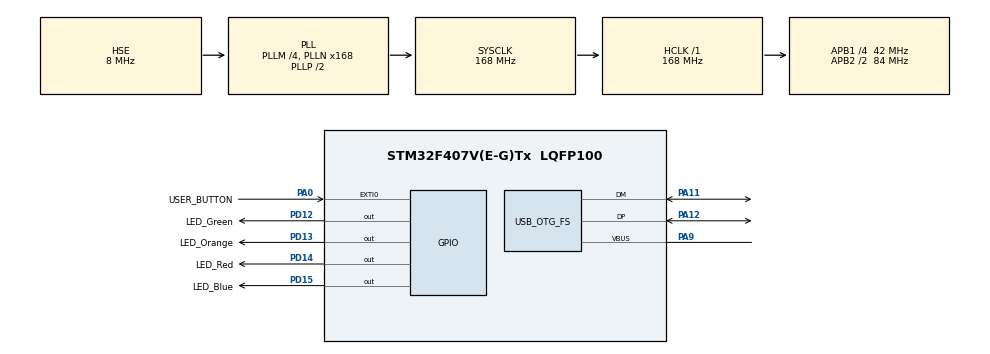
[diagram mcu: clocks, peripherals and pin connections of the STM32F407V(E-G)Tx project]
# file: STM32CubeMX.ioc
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Mcu.Family=STM32F4
Mcu.Name=STM32F407V(E-G)Tx
Mcu.Package=LQFP100
NVIC.EXTI0_IRQn=true\:9\:0\:true\:false\:true\:true\:true\:true
NVIC.OTG_FS_IRQn=true\:15\:0\:true\:false\:true\:true\:true\:true
NVIC.PriorityGroup=NVIC_PRIORITYGROUP_4
NVIC.TIM1_UP_TIM10_IRQn=true\:0\:0\:true\:false\:true\:false\:true\:true
NVIC.TimeBase=TIM1_UP_TIM10_IRQn
NVIC.TimeBaseIP=TIM1
PA0-WKUP.GPIO_Label=USER_BUTTON
PA0-WKUP.Signal=GPXTI0
PA11.Mode=Device_Only
PA11.Signal=USB_OTG_FS_DM
PA12.Mode=Device_Only
PA12.Signal=USB_OTG_FS_DP
PA13.Mode=Serial_Wire
PA13.Signal=SYS_JTMS-SWDIO
PA14.Mode=Serial_Wire
PA14.Signal=SYS_JTCK-SWCLK
PA9.Mode=Activate_VBUS
PA9.Signal=USB_OTG_FS_VBUS
PD12.GPIO_Label=LED_Green
PD12.Signal=GPIO_Output
PD13.GPIO_Label=LED_Orange
PD13.Signal=GPIO_Output
PD14.GPIO_Label=LED_Red
PD14.Signal=GPIO_Output
PD15.GPIO_Label=LED_Blue
PD15.Signal=GPIO_Output
PH0-OSC_IN.Mode=HSE-External-Oscillator
PH0-OSC_IN.Signal=RCC_OSC_IN
PH1-OSC_OUT.Mode=HSE-External-Oscillator
PH1-OSC_OUT.Signal=RCC_OSC_OUT
ProjectManager.HeapSize=0x200
ProjectManager.StackSize=0x400
ProjectManager.TargetToolchain=MDK-ARM V5
RCC.48MHZClocksFreq_Value=48000000
RCC.AHBFreq_Value=168000000
RCC.APB1CLKDivider=RCC_HCLK_DIV4
RCC.APB1Freq_Value=42000000
RCC.APB1TimFreq_Value=84000000
RCC.APB2CLKDivider=RCC_HCLK_DIV2
RCC.APB2Freq_Value=84000000
RCC.APB2TimFreq_Value=168000000
RCC.CortexFreq_Value=168000000
RCC.HCLKFreq_Value=168000000
RCC.HSE_VALUE=8000000
RCC.HSI_VALUE=16000000
RCC.LSE_VALUE=32768
RCC.PLLM=4
RCC.PLLN=168
RCC.PLLQ=7
RCC.SYSCLKFreq_VALUE=168000000
RCC.SYSCLKSource=RCC_SYSCLKSOURCE_PLLCLK
RCC.VCOOutputFreq_Value=336000000
USB_DEVICE.CLASS_NAME_FS=CDC
USB_DEVICE.VirtualMode-CDC_FS=Cdc
USB_DEVICE.VirtualModeFS=Cdc_FS
USB_OTG_FS.VirtualMode=Device_Only
VP_SYS_VS_tim1.Mode=TIM1
VP_USB_DEVICE_VS_USB_DEVICE_CDC_FS.Mode=CDC_FS
board=custom

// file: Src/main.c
/* USER CODE BEGIN Header */
/**
 ******************************************************************************
 * @file           : main.c
 * @brief          : Main program body
 ******************************************************************************
 * @attention
 *
 * Copyright (c) 2025 STMicroelectronics.
 * All rights reserved.
 *
 * This software is licensed under terms that can be found in the LICENSE file
 * in the root directory of this software component.
 * If no LICENSE file comes with this software, it is provided AS-IS.
 *
 ******************************************************************************
 */
/* USER CODE END Header */
#include "main.h"
#include "usb_device.h"

/* USER CODE BEGIN Includes */
#include "app.h"
#include "cmsis_os2.h"
#ifdef DEBUG
#include "eventrecorder.h"
#endif
/* USER CODE END Includes */

/* USER CODE BEGIN PV */
// char fs_buf[100]; // File system working buffer
// int32_t status;   // File system status variable
// int32_t n = 0;    // Number of bytes written/read
/* USER CODE END PV */

/* Private function prototypes
   -----------------------------------------------*/
void SystemClock_Config(void);
static void MX_GPIO_Init(void);

int main(void) {

/* USER CODE BEGIN 1 */
#ifdef DEBUG
  EventRecorderInitialize(EventRecordNone, 1); // Initialize Event Recorder
#endif
  /* USER CODE END 1 */

  /* MCU Configuration--------------------------------------------------------*/

  /* Reset of all peripherals, Initializes the Flash interface and the Systick.
   */
  HAL_Init();

  /* Configure the system clock */
  SystemClock_Config();

  /* Initialize all configured peripherals */
  MX_GPIO_Init();       // Initialize GPIO
  MX_USB_DEVICE_Init(); // Initialize USB device
  /* USER CODE BEGIN 2 */
  osKernelInitialize(); // Initialize CMSIS-RTOS2 kernel

  osThreadId_t tid_app = NULL; // Declare thread ID for the application main

  // Create thread attributes for the main application thread
  const osThreadAttr_t app_main_config = {
      .name = "app_main",
      .priority = osPriorityNormal,
  };
  // Create the main application thread
  tid_app = osThreadNew(app_main, NULL, &app_main_config);
  // Check if the application thread was created successfully

  if (tid_app == NULL) {
#ifdef DEBUG
    printf("Failed to create app_main thread\r\n");
#endif
  }

  osKernelStart(); // Start the CMSIS-RTOS2 kernel
  /* USER CODE END 2 */

  /* Infinite loop */
  while (1) {

    for (;;) {
    }
  }
}

void SystemClock_Config(void) {
  RCC_OscInitTypeDef RCC_OscInitStruct = {0};
  RCC_ClkInitTypeDef RCC_ClkInitStruct = {0};

  /** Configure the main internal regulator output voltage
   */
  __HAL_RCC_PWR_CLK_ENABLE();
  __HAL_PWR_VOLTAGESCALING_CONFIG(PWR_REGULATOR_VOLTAGE_SCALE1);

  /** Initializes the RCC Oscillators according to the specified parameters
   * in the RCC_OscInitTypeDef structure.
   */
  RCC_OscInitStruct.OscillatorType = RCC_OSCILLATORTYPE_HSE;
  RCC_OscInitStruct.HSEState = RCC_HSE_ON;
  RCC_OscInitStruct.PLL.PLLState = RCC_PLL_ON;
  RCC_OscInitStruct.PLL.PLLSource = RCC_PLLSOURCE_HSE;
  RCC_OscInitStruct.PLL.PLLM = 4;
  RCC_OscInitStruct.PLL.PLLN = 168;
  RCC_OscInitStruct.PLL.PLLP = RCC_PLLP_DIV2;
  RCC_OscInitStruct.PLL.PLLQ = 7;
  if (HAL_RCC_OscConfig(&RCC_OscInitStruct) != HAL_OK) {
    Error_Handler();
  }

  /** Initializes the CPU, AHB and APB buses clocks
   */
  RCC_ClkInitStruct.ClockType = RCC_CLOCKTYPE_HCLK | RCC_CLOCKTYPE_SYSCLK |
                                RCC_CLOCKTYPE_PCLK1 | RCC_CLOCKTYPE_PCLK2;
  RCC_ClkInitStruct.SYSCLKSource = RCC_SYSCLKSOURCE_PLLCLK;
  RCC_ClkInitStruct.AHBCLKDivider = RCC_SYSCLK_DIV1;
  RCC_ClkInitStruct.APB1CLKDivider = RCC_HCLK_DIV4;
  RCC_ClkInitStruct.APB2CLKDivider = RCC_HCLK_DIV2;

  if (HAL_RCC_ClockConfig(&RCC_ClkInitStruct, FLASH_LATENCY_5) != HAL_OK) {
    Error_Handler();
  }
}

static void MX_GPIO_Init(void) {
  GPIO_InitTypeDef GPIO_InitStruct = {0};

  /* GPIO Ports Clock Enable */
  __HAL_RCC_GPIOH_CLK_ENABLE();
  __HAL_RCC_GPIOA_CLK_ENABLE();
  __HAL_RCC_GPIOD_CLK_ENABLE();

  /*Configure GPIO pin Output Level */
  HAL_GPIO_WritePin(GPIOD,
                    LED_Green_Pin | LED_Orange_Pin | LED_Red_Pin | LED_Blue_Pin,
                    GPIO_PIN_RESET);

  /*Configure GPIO pin : BUTTON_1_Pin */
  GPIO_InitStruct.Pin = USER_BUTTON_Pin;
  GPIO_InitStruct.Mode = GPIO_MODE_IT_RISING;
  GPIO_InitStruct.Pull = GPIO_NOPULL;
  HAL_GPIO_Init(USER_BUTTON_GPIO_Port, &GPIO_InitStruct);

  /*Configure GPIO pins : LED_Green_Pin LED_Orange_Pin LED_Red_Pin
   * LED_Blue_Pin
   */
  GPIO_InitStruct.Pin =
      LED_Green_Pin | LED_Orange_Pin | LED_Red_Pin | LED_Blue_Pin;
  GPIO_InitStruct.Mode = GPIO_MODE_OUTPUT_PP;
  GPIO_InitStruct.Pull = GPIO_NOPULL;
  GPIO_InitStruct.Speed = GPIO_SPEED_FREQ_LOW;
  HAL_GPIO_Init(GPIOD, &GPIO_InitStruct);

  /* EXTI interrupt init*/
  HAL_NVIC_SetPriority(EXTI0_IRQn, 9, 0);
  HAL_NVIC_EnableIRQ(EXTI0_IRQn);

}

void HAL_TIM_PeriodElapsedCallback(TIM_HandleTypeDef *htim) {
  if (htim->Instance == TIM1) {
    HAL_IncTick();
  }
}

void Error_Handler(void) {
  /* USER CODE BEGIN Error_Handler_Debug */
  /* User can add his own implementation to report the HAL error return state
   */
  __disable_irq();
  while (1) {
  }
  /* USER CODE END Error_Handler_Debug */
}
#ifdef USE_FULL_ASSERT
/**
 * @brief  Reports the name of the source file and the source line number
 *         where the assert_param error has occurred.
 * @param  file: pointer to the source file name
 * @param  line: assert_param error line source number
 * @retval None
 */
void assert_failed(uint8_t *file, uint32_t line) {
  /* USER CODE BEGIN 6 */
  /* User can add his own implementation to report the file name and line
     number, ex: printf("Wrong parameters value: file %s on line %d\r\n",
     file, line) */
  /* USER CODE END 6 */
}
#endif /* USE_FULL_ASSERT */
